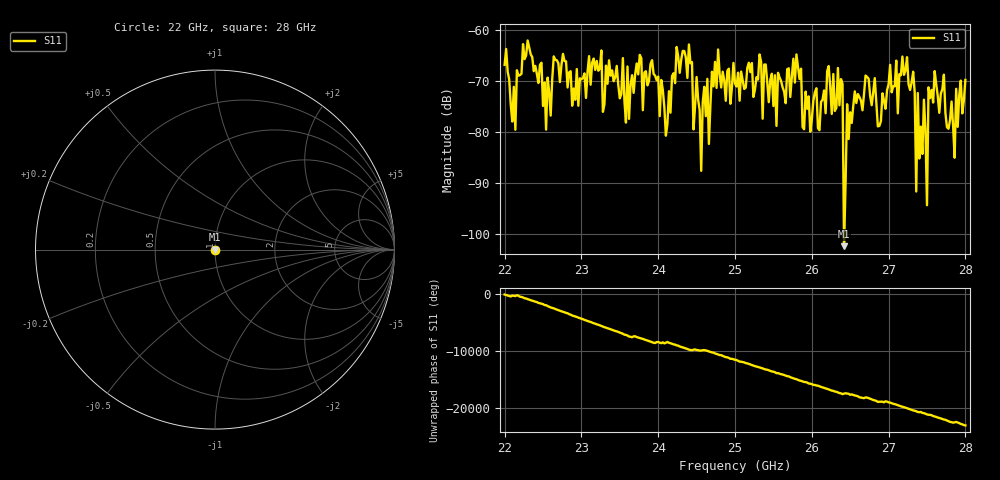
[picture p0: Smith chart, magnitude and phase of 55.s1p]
#  HZ  S  RI  R  50.00
! Rohde & Schwarz ZVA40 4Ports - Version 3.90 - 1145.1110k42 SN: 100403
! Date: 2023-10-04 09:02:56
! Measurement: S12
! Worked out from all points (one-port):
!   301 points, 22 GHz to 28 GHz, reference 50 ohm
!   lowest |S11| = -102.3 dB at 26.42 GHz (marker M1), VSWR 1.00, Z = 50 + j0.000449 ohm
!   |S11| at or under -10 dB: start of sweep to end of sweep
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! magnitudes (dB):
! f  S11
! 22 GHz  -66.8
! 22.14 GHz  -79.5
! 22.16 GHz  -67.9
! 22.3 GHz  -62.0
! 22.54 GHz  -79.5
! 22.76 GHz  -64.7
! 23.5 GHz  -73.4
! 23.92 GHz  -65.9
! 24.1 GHz  -80.7
! 24.26 GHz  -65.1
! 24.4 GHz  -62.8
! 24.46 GHz  -79.5
! 24.64 GHz  -69.5
! 24.66 GHz  -82.3
! 24.78 GHz  -63.8
! 25 GHz  -70.5
! 25.32 GHz  -64.8
! 25.36 GHz  -77.4
! 25.4 GHz  -66.7
! 25.54 GHz  -78.8
! 25.76 GHz  -65.6
! 25.98 GHz  -79.9
! 26.34 GHz  -67.4
! 26.42 GHz  -102.3
! 26.5 GHz  -76.1
! 27.26 GHz  -70.6
! 27.86 GHz  -85.0
! 28 GHz  -69.8
